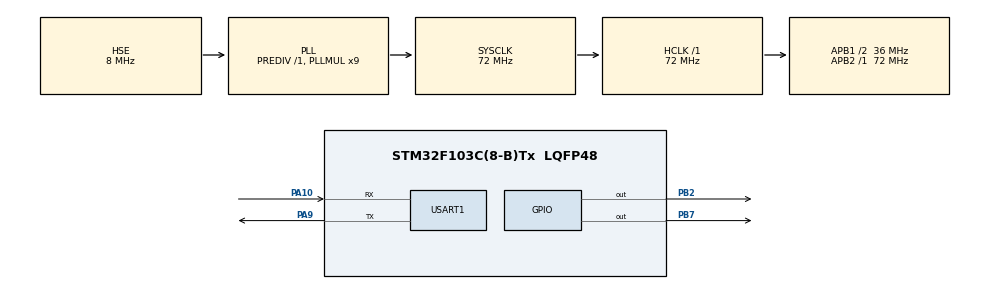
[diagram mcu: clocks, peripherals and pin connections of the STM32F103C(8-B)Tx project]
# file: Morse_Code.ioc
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Mcu.Family=STM32F1
Mcu.Name=STM32F103C(8-B)Tx
Mcu.Package=LQFP48
NVIC.PriorityGroup=NVIC_PRIORITYGROUP_4
NVIC.USART1_IRQn=true\:0\:0\:false\:false\:true\:true\:true\:true
PA10.Mode=Asynchronous
PA10.Signal=USART1_RX
PA13.Mode=Serial_Wire
PA13.Signal=SYS_JTMS-SWDIO
PA14.Mode=Serial_Wire
PA14.Signal=SYS_JTCK-SWCLK
PA9.Mode=Asynchronous
PA9.Signal=USART1_TX
PB2.Signal=GPIO_Output
PB7.Signal=GPIO_Output
PD0-OSC_IN.Mode=HSE-External-Oscillator
PD0-OSC_IN.Signal=RCC_OSC_IN
PD1-OSC_OUT.Mode=HSE-External-Oscillator
PD1-OSC_OUT.Signal=RCC_OSC_OUT
ProjectManager.HeapSize=0x200
ProjectManager.StackSize=0x400
ProjectManager.TargetToolchain=STM32CubeIDE
RCC.AHBFreq_Value=72000000
RCC.APB1CLKDivider=RCC_HCLK_DIV2
RCC.APB1Freq_Value=36000000
RCC.APB1TimFreq_Value=72000000
RCC.APB2Freq_Value=72000000
RCC.APB2TimFreq_Value=72000000
RCC.HCLKFreq_Value=72000000
RCC.PLLMUL=RCC_PLL_MUL9
RCC.PLLSourceVirtual=RCC_PLLSOURCE_HSE
RCC.SYSCLKFreq_VALUE=72000000
RCC.SYSCLKSource=RCC_SYSCLKSOURCE_PLLCLK
RCC.USBFreq_Value=72000000
USART1.VirtualMode=VM_ASYNC
board=custom

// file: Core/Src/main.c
/* USER CODE BEGIN Header */
/**
  ******************************************************************************
  * @file           : main.c
  * @brief          : Main program body
  ******************************************************************************
  * @attention
  *
  * Copyright (c) 2025 STMicroelectronics.
  * All rights reserved.
  *
  * This software is licensed under terms that can be found in the LICENSE file
  * in the root directory of this software component.
  * If no LICENSE file comes with this software, it is provided AS-IS.
  *
  ******************************************************************************
  */
/* USER CODE END Header */
#include "main.h"

/* USER CODE BEGIN Includes */
#include "ctype.h"
#include "string.h"
#include "stdbool.h"
/* USER CODE END Includes */

/* USER CODE BEGIN PD */

// Tiempos Morse (en milisegundos)
#define DOT 200	              	// Punto: 200 ms
#define DASH (DOT * 3)        	// Raya: 600 ms
#define SYMBOL_SPACE DOT      	// Espacio entre símbolos de una letra: 200 ms
#define LETTER_SPACE (DOT * 3) 	// Espacio entre letras: 600 ms
#define WORD_SPACE (DOT * 7)   	// Espacio entre palabras: 1400 ms

#define BUFFER_SIZE 100         // Tamaño de buffer para recepción
/* USER CODE END PD */

UART_HandleTypeDef huart1;

/* USER CODE BEGIN PV */
uint8_t RxData[BUFFER_SIZE];    // Buffer de recepción
uint8_t FinalData[BUFFER_SIZE]; // Buffer para cadena limpia
uint8_t RxByte;                 // Buffer para recibir 1 byte
volatile uint8_t indx = 0;      // Manejador del índice de la cadena recibida
volatile bool newMessageReady = false;  //Señal de listo

// Tabla de letras A-Z en Morse
char* letters[] = {
		".-",	// A
		"-...",	// B
		"-.-.",	// C
		"-..",	// D
		".",	// E
		"..-.",	// F
		"--.",	// G
		"....",	// H
		"..",	// I
		".---",	// J
		"-.-",	// K
		".-..",	// L
		"--",	// M
		"-.",	// N
		"---",	// O
		".--.",	// P
		"--.-",	// Q
		".-.",	// R
		"...",	// S
		"-",	// T
		"..-",	// U
		"...-",	// V
		".--",	// W
		"-..-",	// X
		"-.--",	// Y
		"--.."	// Z
};

// Tabla de números 0-9 en Morse
char* numbers[] = {
		"-----",	// 0
		".----", 	// 1
		"..---", 	// 2
		"...--", 	// 3
		"....-", 	// 4
		".....",	// 5
		"-....", 	// 6
		"--...", 	// 7
		"---..", 	// 8
		"----."		// 9
};

// Mensaje a transmitir
char message[] = "SOS";
/* USER CODE END PV */

void SystemClock_Config(void);
static void MX_GPIO_Init(void);
static void MX_USART1_UART_Init(void);
/* USER CODE BEGIN PFP */

/**
  * @brief  Transmite una cadena completa en código Morse
  * @param  str: Puntero a la cadena a transmitir
  * @retval None
  */
void transmitString(char* str);

/**
  * @brief  Transmite un carácter en código Morse
  * @param  c: Carácter a transmitir (letra, número o espacio)
  * @retval None
  */
void transmitChar(char c);

/**
  * @brief  Reproduce una secuencia Morse (puntos y rayas)
  * @param  sequence: Puntero a la secuencia (ej: ".-.")
  * @retval None
  */
void flashSequence(char* sequence);

/**
  * @brief  Reproduce un punto o raya en el LED
  * @param  dotOrDash: '.' para punto, '-' para raya
  * @retval None
  */
void flashDotOrDash(char dotOrDash);

/* USER CODE END PFP */

int main(void)
{

  /* MCU Configuration--------------------------------------------------------*/

  /* Reset of all peripherals, Initializes the Flash interface and the Systick. */
  HAL_Init();

  /* Configure the system clock */
  SystemClock_Config();

  /* Initialize all configured peripherals */
  MX_GPIO_Init();
  MX_USART1_UART_Init();
  /* USER CODE BEGIN 2 */

  // Inicializar buffers
  memset(RxData, 0, BUFFER_SIZE);
  memset(FinalData, 0, BUFFER_SIZE);

  // Iniciar recepeción UART por interrupción
  HAL_UART_Receive_IT(&huart1, &RxByte, 1);

  // Mensaje de bienvenida
  char welcome[] = "Traductor Morse listo. Envie texto terminado en ENTER.\r\n";
  HAL_UART_Transmit(&huart1, (uint8_t*)welcome, strlen(welcome), HAL_MAX_DELAY);
  /* USER CODE END 2 */

  /* Infinite loop */
  /* USER CODE BEGIN WHILE */
  while (1)
  {
	  // Verificar si hay un nuevo mensaje completo
    if(newMessageReady)
    {
      // Copiar mensaje recibido a FinalData
      memcpy(FinalData, RxData, indx);
      FinalData[indx] = '\0';  // Asegurar terminación nula

      // Echo del mensaje recibido
      char echo[] = "\n\rTransmitiendo: ";
      HAL_UART_Transmit(&huart1, (uint8_t*)echo, strlen(echo), HAL_MAX_DELAY);
      HAL_UART_Transmit(&huart1, FinalData, strlen((char*)FinalData), HAL_MAX_DELAY);
      HAL_UART_Transmit(&huart1, (uint8_t*)"\r\n", 2, HAL_MAX_DELAY);

      // Transmitir en morse
      transmitString((char*)FinalData);

      // Mensaje completado
      char done[] = "\r\nTransmisión completada. \r\n";
      HAL_UART_Transmit(&huart1, (uint8_t*)done, strlen(done), HAL_MAX_DELAY);

      // Limpiar buffers y bandera
      memset(RxData, 0, BUFFER_SIZE);
      memset(FinalData, 0, BUFFER_SIZE);
      indx = 0;
      newMessageReady = false;
    }
    /* USER CODE END WHILE */

  }
}

void SystemClock_Config(void)
{
  RCC_OscInitTypeDef RCC_OscInitStruct = {0};
  RCC_ClkInitTypeDef RCC_ClkInitStruct = {0};

  /** Initializes the RCC Oscillators according to the specified parameters
  * in the RCC_OscInitTypeDef structure.
  */
  RCC_OscInitStruct.OscillatorType = RCC_OSCILLATORTYPE_HSE;
  RCC_OscInitStruct.HSEState = RCC_HSE_ON;
  RCC_OscInitStruct.HSEPredivValue = RCC_HSE_PREDIV_DIV1;
  RCC_OscInitStruct.HSIState = RCC_HSI_ON;
  RCC_OscInitStruct.PLL.PLLState = RCC_PLL_ON;
  RCC_OscInitStruct.PLL.PLLSource = RCC_PLLSOURCE_HSE;
  RCC_OscInitStruct.PLL.PLLMUL = RCC_PLL_MUL9;
  if (HAL_RCC_OscConfig(&RCC_OscInitStruct) != HAL_OK)
  {
    Error_Handler();
  }

  /** Initializes the CPU, AHB and APB buses clocks
  */
  RCC_ClkInitStruct.ClockType = RCC_CLOCKTYPE_HCLK|RCC_CLOCKTYPE_SYSCLK
                              |RCC_CLOCKTYPE_PCLK1|RCC_CLOCKTYPE_PCLK2;
  RCC_ClkInitStruct.SYSCLKSource = RCC_SYSCLKSOURCE_PLLCLK;
  RCC_ClkInitStruct.AHBCLKDivider = RCC_SYSCLK_DIV1;
  RCC_ClkInitStruct.APB1CLKDivider = RCC_HCLK_DIV2;
  RCC_ClkInitStruct.APB2CLKDivider = RCC_HCLK_DIV1;

  if (HAL_RCC_ClockConfig(&RCC_ClkInitStruct, FLASH_LATENCY_2) != HAL_OK)
  {
    Error_Handler();
  }
}

static void MX_USART1_UART_Init(void)
{

  huart1.Instance = USART1;
  huart1.Init.BaudRate = 115200;
  huart1.Init.WordLength = UART_WORDLENGTH_8B;
  huart1.Init.StopBits = UART_STOPBITS_1;
  huart1.Init.Parity = UART_PARITY_NONE;
  huart1.Init.Mode = UART_MODE_TX_RX;
  huart1.Init.HwFlowCtl = UART_HWCONTROL_NONE;
  huart1.Init.OverSampling = UART_OVERSAMPLING_16;
  if (HAL_UART_Init(&huart1) != HAL_OK)
  {
    Error_Handler();
  }

}

static void MX_GPIO_Init(void)
{
  GPIO_InitTypeDef GPIO_InitStruct = {0};

  /* GPIO Ports Clock Enable */
  __HAL_RCC_GPIOD_CLK_ENABLE();
  __HAL_RCC_GPIOB_CLK_ENABLE();
  __HAL_RCC_GPIOA_CLK_ENABLE();

  /*Configure GPIO pin Output Level */
  HAL_GPIO_WritePin(GPIOB, GPIO_PIN_2|GPIO_PIN_7, GPIO_PIN_RESET);

  /*Configure GPIO pins : PB2 PB7 */
  GPIO_InitStruct.Pin = GPIO_PIN_2|GPIO_PIN_7;
  GPIO_InitStruct.Mode = GPIO_MODE_OUTPUT_PP;
  GPIO_InitStruct.Pull = GPIO_NOPULL;
  GPIO_InitStruct.Speed = GPIO_SPEED_FREQ_LOW;
  HAL_GPIO_Init(GPIOB, &GPIO_InitStruct);

}

/* USER CODE BEGIN 4 */

/**
  * @brief  Transmite una cadena completa en código Morse
  * @param  str: Puntero a la cadena a transmitir
  * @retval None
  */
void transmitString(char* str)
{
  int i = 0;
  while(str[i] != '\0')
  {
    transmitChar(str[i]);
    i++;
  }
}

/**
  * @brief  Transmite un carácter en código Morse
  * @param  c: Carácter a transmitir (letra, número o espacio)
  * @retval None
  */
void transmitChar(char c)
{
  // Convertir a mayúscula si es letra
  c = toupper(c);

  if(c >= 'A' && c <= 'Z')
  {
    // Es una letra
    flashSequence(letters[c - 'A']);
    HAL_Delay(LETTER_SPACE);
  }
  else if(c >= '0' && c <= '9')
  {
    // Es un número
    flashSequence(numbers[c - '0']);
    HAL_Delay(LETTER_SPACE);
  }
  else if(c == ' ')
  {
    // Espacio entre palabras
    // Ya hay LETTER_SPACE del carácter anterior
    // Añadimos el resto para completar WORD_SPACE
    HAL_Delay(WORD_SPACE - LETTER_SPACE);
  }
  // Otros caracteres se ignoran
}

/**
  * @brief  Reproduce una secuencia Morse (puntos y rayas)
  * @param  sequence: Puntero a la secuencia (ej: ".-.")
  * @retval None
  */
void flashSequence(char* sequence)
{
  int i = 0;
  while(sequence[i] != '\0')
  {
	flashDotOrDash(sequence[i]);
	i++;

	// Espacio entre símbolos (excepto después del último)
	if(sequence[i] != '\0')
	{
	  HAL_Delay(SYMBOL_SPACE);
	}
  }
}

/**
  * @brief  Reproduce un punto o raya en el LED
  * @param  dotOrDash: '.' para punto, '-' para raya
  * @retval None
  */
void flashDotOrDash(char dotOrDash)
{
	HAL_GPIO_WritePin(GPIOB, GPIO_PIN_2, GPIO_PIN_SET);
	HAL_GPIO_WritePin(GPIOB, GPIO_PIN_7, GPIO_PIN_SET);

	if(dotOrDash == '.')
	{
		HAL_Delay(DOT);
	}
	else  // '-'
	{
		HAL_Delay(DASH);
	}

	HAL_GPIO_WritePin(GPIOB, GPIO_PIN_2, GPIO_PIN_RESET);
	HAL_GPIO_WritePin(GPIOB, GPIO_PIN_7, GPIO_PIN_RESET);
}

/**
  * @brief  Callback de recepción UART
  * @param  huart: Handle del UART
  * @retval None
  */
void HAL_UART_RxCpltCallback(UART_HandleTypeDef *huart)
{
	// Verificar si es ENTER (carriage return o line feed)
	if(RxByte == '\r' || RxByte == '\n')
	{
		// Marcar que hay un mensaje completo
		if(indx > 0) // Solo si hay datos
		{
		  newMessageReady = true;
		}
	  }
	  else if(RxByte == 127 || RxByte == 8)	// Backspace o DEL
	  {
		  // Eliminar último carácter
		  if(indx > 0)
		  {
			indx--;
			RxData[indx] = 0;
			// Echo del backspace
			HAL_UART_Transmit(&huart1, (uint8_t*)"\b \b", 3, 10);
		  }
	  }
	  else if(indx < BUFFER_SIZE - 1)  // Protección contra desbordamiento
	  {
		// Almacenar el byte recibido
		RxData[indx] = RxByte;
		indx++;

		// Echo del carácter recibido
		HAL_UART_Transmit(&huart1, &RxByte, 1, 10);
	  }
	  // Reiniciar recepción para el siguiente byte
	  HAL_UART_Receive_IT(&huart1, &RxByte, 1);
}
/* USER CODE END 4 */

void Error_Handler(void)
{
  __disable_irq();
  while (1)
  {
  }
}
